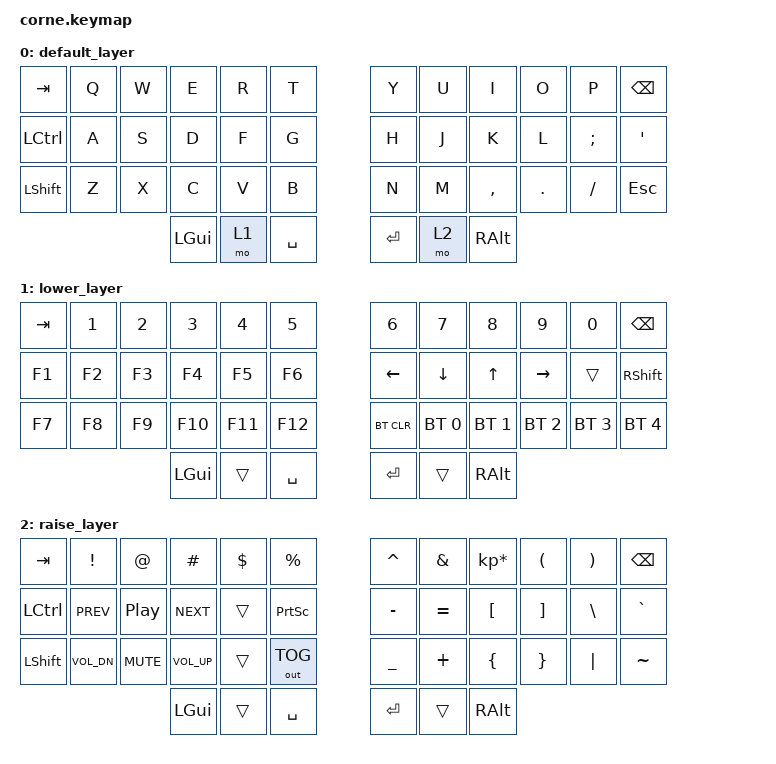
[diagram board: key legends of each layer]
/*
 * Copyright (c) 2020 The ZMK Contributors
 *
 * SPDX-License-Identifier: MIT
 */

#include <behaviors.dtsi>
#include <dt-bindings/zmk/keys.h>
#include <dt-bindings/zmk/bt.h>
#include <dt-bindings/zmk/outputs.h>

/ {
        keymap {
                compatible = "zmk,keymap";

                default_layer {
// -----------------------------------------------------------------------------------------
// |  TAB |  Q  |  W  |  E  |  R  |  T  |   |  Y  |  U   |  I  |  O  |  P  | BKSP |
// | CTRL |  A  |  S  |  D  |  F  |  G  |   |  H  |  J   |  K  |  L  |  ;  |  '   |
// | SHFT |  Z  |  X  |  C  |  V  |  B  |   |  N  |  M   |  ,  |  .  |  /  | ESC  |
//                    | GUI | LWR | SPC |   | ENT | RSE  | ALT |
                        bindings = <
   &kp TAB   &kp Q &kp W &kp E &kp R &kp T   &kp Y &kp U  &kp I     &kp O   &kp P    &kp BSPC
   &kp LCTRL &kp A &kp S &kp D &kp F &kp G   &kp H &kp J  &kp K     &kp L   &kp SEMI &kp SQT
   &kp LSHFT &kp Z &kp X &kp C &kp V &kp B   &kp N &kp M  &kp COMMA &kp DOT &kp FSLH &kp ESC
                  &kp LGUI &mo 1 &kp SPACE   &kp RET &mo 2 &kp RALT
                        >;
                };
                lower_layer {
// -----------------------------------------------------------------------------------------
// |  TAB |  1  |  2  |  3  |  4  |  5  |   |  6  |  7  |  8  |  9  |  0  | BKSP |
// |  F1  |  F2 | F3  | F4  | F5  | F6  |   | LFT | DWN |  UP | RGT |     | SHFT |
// |  F7  |  F8 | F9  | F10 | F11 | F12 |   |BTCLR| BT1 | BT2 | BT3 | BT4 | BT5  |
//                    | GUI |     | SPC |   | ENT |     | ALT |
                        bindings = <
   &kp TAB    &kp N1       &kp N2       &kp N3       &kp N4       &kp N5         &kp N6     &kp N7       &kp N8       &kp N9       &kp N0       &kp BSPC
   &kp F1     &kp F2       &kp F3       &kp F4       &kp F5       &kp F6         &kp LEFT   &kp DOWN     &kp UP       &kp RIGHT    &trans       &kp RSHIFT
   &kp F7     &kp F8       &kp F9       &kp F10      &kp F11      &kp F12        &bt BT_CLR &bt BT_SEL 0 &bt BT_SEL 1 &bt BT_SEL 2 &bt BT_SEL 3 &bt BT_SEL 4
                          	        &kp LGUI     &trans       &kp SPACE      &kp RET  &trans   &kp RALT
                        >;
                };

                raise_layer {
// -----------------------------------------------------------------------------------------
// |  TAB |  !  |  @  |  #  |  $  |  %  |   |  ^  |  &  |  *  |  (  |  )  | BKSP |
// | CTRL | PREV| PLAY| PREV|     |PSCRN|   |  -  |  =  |  [  |  ]  |  \  |  `   |
// | SHFT |VOLUP| MUTE|VOLDN|     |OUTOG|   |  _  |  +  |  {  |  }  | "|" |  ~   |
//                    | GUI |     | SPC |   | ENT |     | ALT |
                        bindings = <
   &kp  TAB  &kp EXCL     &kp AT       &kp HASH &kp DLLR &kp PRCNT          &kp CARET &kp AMPS  &kp KP_MULTIPLY &kp LPAR &kp RPAR &kp BSPC
   &kp LCTRL &kp C_PREV   &kp C_PP     &kp C_NEXT   &trans   &kp PSCRN      &kp MINUS &kp EQUAL &kp LBKT        &kp RBKT &kp BSLH &kp GRAVE
   &kp LSHFT &kp C_VOL_DN &kp C_MUTE   &kp C_VOL_UP   &trans   &out OUT_TOG       &kp UNDER &kp PLUS  &kp LBRC        &kp RBRC &kp PIPE &kp TILDE
                    	     &kp LGUI &trans   &kp SPACE   &kp RET   &trans    &kp RALT
                        >;
                };
        };
};
